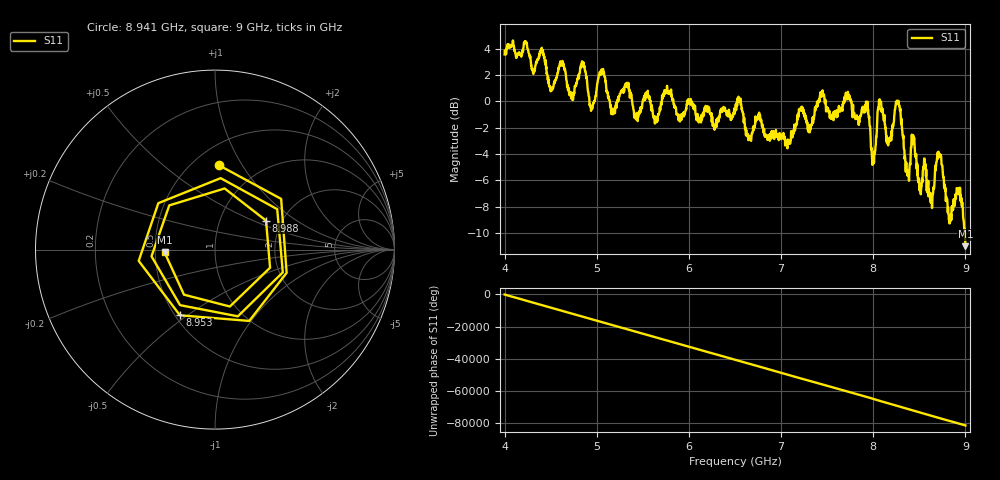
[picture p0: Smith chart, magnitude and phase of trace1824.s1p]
! Created with skrf 1.8.0 (http://scikit-rf.org).
# Hz S RI R 50.0
!freq ReS11 ImS11
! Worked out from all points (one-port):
!   1601 points, 4 GHz to 9 GHz, reference 50 ohm
!   lowest |S11| = -11.0 dB at 9 GHz (marker M1), VSWR 1.78, Z = 28 - j0.939 ohm
!   |S11| at or under -10 dB: 8.995481 GHz to end of sweep
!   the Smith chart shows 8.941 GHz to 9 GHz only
!   S11 on the Smith chart (normalised r, x): 8.941 GHz: 0.66, +0.80; 8.953 GHz: 0.53, -0.47; 8.988 GHz: 1.66, +0.60; 9 GHz: 0.56, -0.02
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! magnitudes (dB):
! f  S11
! 4 GHz  3.6
! 4.406 GHz  3.9
! 4.506 GHz  0.8
! 4.625 GHz  2.9
! 4.725 GHz  0.7
! 4.844 GHz  2.9
! 4.944 GHz  -0.6
! 5.053 GHz  2.4
! 5.172 GHz  -1.0
! 5.25 GHz  0.6
! 5.875 GHz  -1.0
! 6.5 GHz  -0.6
! 7.125 GHz  -2.7
! 7.75 GHz  0.2
! 7.931 GHz  -0.3
! 8 GHz  -4.5
! 8.069 GHz  0.2
! 8.169 GHz  -3.0
! 8.269 GHz  -0.1
! 8.375 GHz  -5.4
! 8.434 GHz  -2.6
! 8.625 GHz  -7.7
! 8.712 GHz  -4.1
! 8.831 GHz  -8.8
! 8.941 GHz  -6.6
! 8.953 GHz  -7.6
! 8.988 GHz  -9.7
! 9 GHz  -11.0
